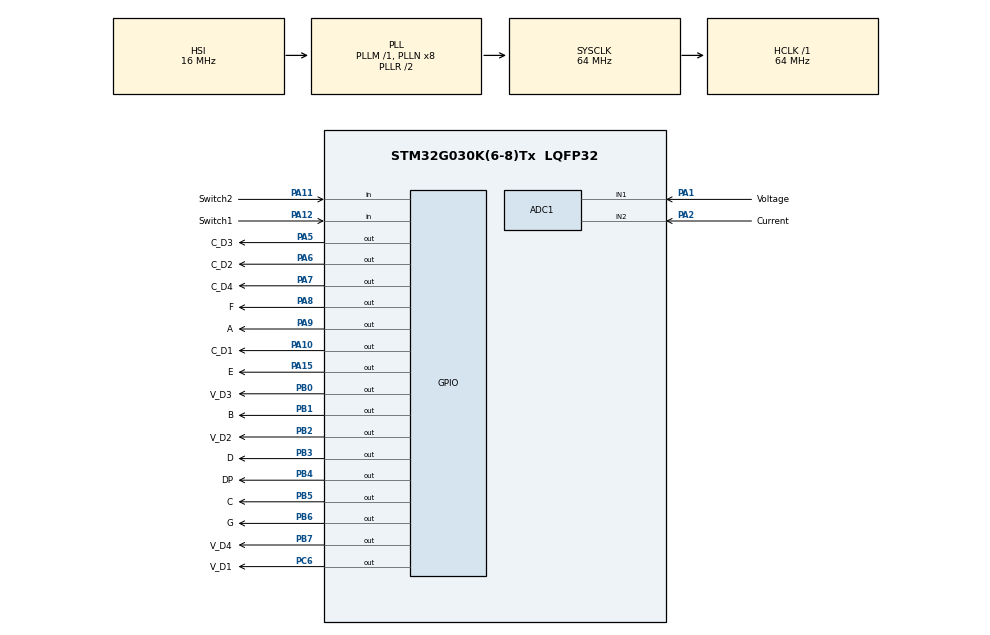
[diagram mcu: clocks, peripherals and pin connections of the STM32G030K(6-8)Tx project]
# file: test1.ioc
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ADC1.Channel-0\#ChannelRegularConversion=ADC_CHANNEL_1
ADC1.Channel-1\#ChannelRegularConversion=ADC_CHANNEL_2
ADC1.Channel-2\#ChannelRegularConversion=ADC_CHANNEL_VREFINT
ADC1.ClockPrescaler=ADC_CLOCK_ASYNC_DIV1
ADC1.ContinuousConvMode=DISABLE
ADC1.DMAContinuousRequests=ENABLE
ADC1.DiscontinuousConvMode=ENABLE
ADC1.EOCSelection=ADC_EOC_SINGLE_CONV
ADC1.EnableAnalogWatchDog1=false
ADC1.LowPowerAutoPowerOff=DISABLE
ADC1.LowPowerAutoWait=DISABLE
ADC1.NbrOfConversion=3
ADC1.NbrOfConversionFlag=1
ADC1.Overrun=ADC_OVR_DATA_OVERWRITTEN
ADC1.OversamplingMode=DISABLE
ADC1.Rank-0\#ChannelRegularConversion=1
ADC1.Rank-1\#ChannelRegularConversion=2
ADC1.Rank-2\#ChannelRegularConversion=3
ADC1.SamplingTime-0\#ChannelRegularConversion=ADC_SAMPLINGTIME_COMMON_1
ADC1.SamplingTime-1\#ChannelRegularConversion=ADC_SAMPLINGTIME_COMMON_1
ADC1.SamplingTime-2\#ChannelRegularConversion=ADC_SAMPLINGTIME_COMMON_1
ADC1.SamplingTimeCommon1=ADC_SAMPLETIME_160CYCLES_5
ADC1.SamplingTimeCommon2=ADC_SAMPLETIME_160CYCLES_5
ADC1.SelectedChannel=ADC_CHANNEL_1|ADC_CHANNEL_2|ADC_CHANNEL_VREFINT
ADC1.master=1
Dma.ADC1.0.Direction=DMA_PERIPH_TO_MEMORY
Dma.ADC1.0.EventEnable=DISABLE
Dma.ADC1.0.Instance=DMA1_Channel1
Dma.ADC1.0.MemDataAlignment=DMA_MDATAALIGN_HALFWORD
Dma.ADC1.0.MemInc=DMA_MINC_ENABLE
Dma.ADC1.0.Mode=DMA_CIRCULAR
Dma.ADC1.0.PeriphDataAlignment=DMA_PDATAALIGN_HALFWORD
Dma.ADC1.0.PeriphInc=DMA_PINC_DISABLE
Dma.ADC1.0.Polarity=HAL_DMAMUX_REQ_GEN_RISING
Dma.ADC1.0.Priority=DMA_PRIORITY_LOW
Dma.ADC1.0.RequestNumber=1
Dma.ADC1.0.SignalID=NONE
Dma.ADC1.0.SyncEnable=DISABLE
Dma.ADC1.0.SyncPolarity=HAL_DMAMUX_SYNC_NO_EVENT
Dma.ADC1.0.SyncRequestNumber=1
Dma.ADC1.0.SyncSignalID=NONE
Dma.Request0=ADC1
Mcu.Family=STM32G0
Mcu.Name=STM32G030K(6-8)Tx
Mcu.Package=LQFP32
NVIC.DMA1_Channel1_IRQn=true\:0\:0\:false\:false\:true\:false\:true\:true
NVIC.TIM3_IRQn=true\:0\:0\:false\:false\:true\:true\:true\:true
PA1.GPIO_Label=Voltage
PA1.Mode=IN1
PA1.Signal=ADC1_IN1
PA10.GPIO_Label=C_D1
PA10.Signal=GPIO_Output
PA11\ [PA9].GPIO_Label=Switch2
PA11\ [PA9].GPIO_PuPd=GPIO_NOPULL
PA11\ [PA9].Signal=GPIO_Input
PA12\ [PA10].GPIO_Label=Switch1
PA12\ [PA10].Signal=GPIO_Input
PA13.Mode=Serial_Wire
PA13.Signal=SYS_SWDIO
PA14-BOOT0.Mode=Serial_Wire
PA14-BOOT0.Signal=SYS_SWCLK
PA15.GPIO_Label=E
PA15.GPIO_Speed=GPIO_SPEED_FREQ_VERY_HIGH
PA15.PinState=GPIO_PIN_RESET
PA15.Signal=GPIO_Output
PA2.GPIO_Label=Current
PA2.Mode=IN2
PA2.Signal=ADC1_IN2
PA5.GPIO_Label=C_D3
PA5.Signal=GPIO_Output
PA6.GPIO_Label=C_D2
PA6.GPIO_Speed=GPIO_SPEED_FREQ_VERY_HIGH
PA6.Signal=GPIO_Output
PA7.GPIO_Label=C_D4
PA7.GPIO_Speed=GPIO_SPEED_FREQ_VERY_HIGH
PA7.Signal=GPIO_Output
PA8.GPIO_Label=F
PA8.GPIO_Speed=GPIO_SPEED_FREQ_VERY_HIGH
PA8.Signal=GPIO_Output
PA9.GPIO_Label=A
PA9.Signal=GPIO_Output
PB0.GPIO_Label=V_D3
PB0.GPIO_Speed=GPIO_SPEED_FREQ_VERY_HIGH
PB0.Signal=GPIO_Output
PB1.GPIO_Label=B
PB1.GPIO_Speed=GPIO_SPEED_FREQ_VERY_HIGH
PB1.Signal=GPIO_Output
PB2.GPIO_Label=V_D2
PB2.GPIO_Speed=GPIO_SPEED_FREQ_VERY_HIGH
PB2.Signal=GPIO_Output
PB3.GPIO_Label=D
PB3.GPIO_Speed=GPIO_SPEED_FREQ_VERY_HIGH
PB3.Signal=GPIO_Output
PB4.GPIO_Label=DP
PB4.GPIO_Speed=GPIO_SPEED_FREQ_VERY_HIGH
PB4.Signal=GPIO_Output
PB5.GPIO_Label=C
PB5.GPIO_Speed=GPIO_SPEED_FREQ_VERY_HIGH
PB5.Signal=GPIO_Output
PB6.GPIO_Label=G
PB6.GPIO_Speed=GPIO_SPEED_FREQ_VERY_HIGH
PB6.Signal=GPIO_Output
PB7.GPIO_Label=V_D4
PB7.GPIO_Speed=GPIO_SPEED_FREQ_VERY_HIGH
PB7.Signal=GPIO_Output
PC6.GPIO_Label=V_D1
PC6.GPIO_Speed=GPIO_SPEED_FREQ_VERY_HIGH
PC6.Signal=GPIO_Output
ProjectManager.HeapSize=0x200
ProjectManager.StackSize=0x400
ProjectManager.TargetToolchain=STM32CubeIDE
RCC.ADCCLockSelection=RCC_ADCCLKSOURCE_PLLADC
RCC.ADCFreq_Value=32000000
RCC.AHBFreq_Value=64000000
RCC.APB1CLKDivider=RCC_HCLK_DIV4
RCC.CortexFreq_Value=64000000
RCC.EXTERNAL_CLOCK_VALUE=12288000
RCC.HCLKFreq_Value=64000000
RCC.HSE_VALUE=8000000
RCC.HSI_VALUE=16000000
RCC.LSE_VALUE=32768
RCC.PLLP=RCC_PLLP_DIV4
RCC.SYSCLKFreq_VALUE=64000000
RCC.SYSCLKSource=RCC_SYSCLKSOURCE_PLLCLK
RCC.VCOOutputFreq_Value=128000000
TIM3.Channel-Output\ Compare1\ No\ Output=TIM_CHANNEL_1
TIM3.OCMode_1=TIM_OCMODE_TIMING
TIM3.Period=32768
TIM3.Prescaler=1
TIM3.TIM_MasterOutputTrigger=TIM_TRGO_RESET
VP_ADC1_Vref_Input.Mode=IN-Vrefint
VP_TIM3_VS_ClockSourceINT.Mode=Internal
VP_TIM3_VS_no_output1.Mode=Output Compare1 No Output
board=custom

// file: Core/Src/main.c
/* USER CODE BEGIN Header */
/**
  ******************************************************************************
  * @file           : main.c
  * @brief          : Main program body
  ******************************************************************************
  * @attention
  *
  * Copyright (c) 2025 STMicroelectronics.
  * All rights reserved.
  *
  * This software is licensed under terms that can be found in the LICENSE file
  * in the root directory of this software component.
  * If no LICENSE file comes with this software, it is provided AS-IS.
  *
  ******************************************************************************
  */
/* USER CODE END Header */
#include "main.h"

/* USER CODE BEGIN PD */

#define SAMPLES 1024.0f

#define SMOOTHING_SHIFT 3

#define BUTTON1_Pin GPIO_PIN_12
#define BUTTON1_GPIO_Port GPIOA

#define BUTTON2_Pin GPIO_PIN_11
#define BUTTON2_GPIO_Port GPIOA

//#define RING_SIZE        16        // number of entries in the averaging buffer
//#define RING_THRESHOLD   0.1f      // 0.5 V: update buffer only when avg would change by >= 0.5V

#define alpha                0.1f   // Smoothing factor
#define OFFSET_ADC_Curr       3.75f      // Offset (at 0 A)
#define OFFSET_ADC_Volt       5.0f

#define VREFINT_CAL_ADDR   ((uint16_t*)0x1FFF75AA)
#define VREFINT_CAL_VREF   3000UL   // mV

//static float baseline = 0.0f;
//#define BASELINE_ALPHA  0.002f       // how fast baseline adapts
//#define DETECT_THRESH   6.0f         // only adapt when signal small

#define ADC_RESOLUTION      4095.0f
#define AMPLIFIER_GAIN       50.0f // Adjust if your INA180 is A1 (20), A2 (50), A3 (100), A4 (200)

GPIO_PinState b2;
GPIO_PinState b1;
/* USER CODE END PD */

ADC_HandleTypeDef hadc1;
DMA_HandleTypeDef hdma_adc1;

TIM_HandleTypeDef htim3;

/* USER CODE BEGIN PV */
HAL_StatusTypeDef status;

float SHUNT_RESISTANCE   =  0.000375f; // Ohms
uint16_t flag1 = 0;
uint16_t digits[16];

uint32_t buttonPressStartTime = 0;
uint8_t waitingFor2Sec = 0;
uint8_t inPasswordMode = 0;

uint8_t currentDigitIndex = 0;

uint8_t passwordDigits[4] = {0, 0, 0, 0};
const uint8_t defaultPassword[4] = { 1,2,3,4 };

uint8_t correctPassword[4] = {1, 0, 0, 0};
uint8_t passwordEntered[4] = {0};
uint8_t settingDigits[4] = {0};
uint8_t mode = 0;
uint8_t entryComplete = 0;
uint8_t passwordMatched = 0;
uint32_t lastPress = 0, blinkTimer = 0;
uint8_t blinkState = 0;
uint8_t modeEntryActive = 0;

uint8_t editMode = 0;                 // Are we editing digits?

uint8_t readOnlyMode = 0;

uint16_t adc_Value= 0;

uint16_t adc_Value_1= 0;

uint16_t adc_Value_2= 0;

uint32_t sum_V = 0;

uint32_t sum_C = 0;

float average_V = 0;

float average_C = 0;

float voltage = 0;
float current = 0;

float corrected_V = 0;

int16_t corrected_A = 0;

uint16_t number = 0;

int16_t deviation, a, b, current_A;

int16_t filtered_adc_1 = 0;

int val_int;

float ema_current = 0;
float ema_voltage = 0;

float offset_correction;
float gain_correction;
float v_shunt;
float v_out;
float i_shunt;
float i_out;

uint16_t adc_vrefint = 0;   // latest ADC result for VREFINT
uint32_t vdda_mV = 0;       // calculated VDDA (mV)

uint16_t AD_RES_BUFFER[3];

const uint8_t modeLabels[5][4] = {
        {28, 17, 23, 29}, // SHnt
        {13, 30, 1, 13},  // du1d
        {11, 30, 10, 13}, // bUAd
        {25, 10, 27, 29}, // PArt
        {28, 10, 30, 14}  // SAVE
    };

// if password is correct

uint8_t modeSettings[5][4] = {
    {2, 0, 0, 0}, // Default SHnt
    {0, 1, 0, 37}, // Default du1d
    {9, 6, 0, 0}, // Default bUAd
    {14, 30, 14, 23}, // Default: EVEn (E, V, E, n)
    {34, 14, 5, 37}  // Default SAVE: y
};

uint8_t partModes[3][4] = {
    {14, 30, 14, 23}, // EVEn
    {0, 13, 13, 37}, // odd
    {23, 24, 23, 37}  // non
};

uint8_t saveModes[2][4] = {
    {23, 24, 37, 37}, // YES
    {34, 14, 5, 37}, // NO
};

const uint8_t baudModes[4][4] = {
    {9, 6, 0, 0},   // 9600
    {4, 8, 0, 0},   // 4800
    {2, 4, 0, 0},   // 2400
    {1, 9, 2, 0}    // 1920
};
uint8_t baudModeIndex = 0;

// Set default values for modes (unless in edit)
//if (!editMode && mode == 0) memcpy(settingDigits, (uint8_t[]){0, 7, 5, 9}, 4);
//if (!editMode && mode == 2) memcpy(settingDigits, (uint8_t[]){9, 6, 0, 0}, 4);

uint8_t modeEditBlink = 0; // Used in Mode 3 (PArt) and Mode 4 (SAVE)

int partModeIndex = 0;
int saveToggle = 0; // 0 = EVEn, 1 = odd
int programming = 0;

/* USER CODE END PV */

void SystemClock_Config(void);
static void MX_GPIO_Init(void);
static void MX_DMA_Init(void);
static void MX_ADC1_Init(void);
static void MX_TIM3_Init(void);
/* USER CODE BEGIN PFP */

// Convert buffer digits into float shunt resistance
float get_shunt_from_buffer(uint8_t buf[4]) {
    // Example buf = {0,7,5,9} → 75.9
    int d1 = buf[0];  // tens
    int d2 = buf[1];  // ones
    int d3 = buf[2];  // tenths
    int d4 = buf[3];  // hundredths (if needed)

    float value = (d1 * 10.0f) + (d2 * 1.0f) + (d3 * 0.1f) + (d4 * 0.01f);
    return value;
}

uint16_t ADC_Current(void)
{
	ADC_ChannelConfTypeDef sConfig = {0};

	  sConfig.Channel = ADC_CHANNEL_2;
	  sConfig.Rank = ADC_REGULAR_RANK_1;
	  sConfig.SamplingTime = ADC_SAMPLINGTIME_COMMON_1;
	  if (HAL_ADC_ConfigChannel(&hadc1, &sConfig) != HAL_OK)
	  {
	    Error_Handler();
	  }

	status = HAL_ADC_Start(&hadc1);
	status = HAL_ADC_PollForConversion(&hadc1, HAL_MAX_DELAY);
	adc_Value_1 = HAL_ADC_GetValue(&hadc1);
	HAL_ADC_Stop(&hadc1);

	return adc_Value_1;
}

uint16_t ADC_Voltage(void)
{
	ADC_ChannelConfTypeDef sConfig = {0};

	  sConfig.Channel = ADC_CHANNEL_1;
	  sConfig.Rank = ADC_REGULAR_RANK_1;
	  sConfig.SamplingTime = ADC_SAMPLINGTIME_COMMON_1;
	  if (HAL_ADC_ConfigChannel(&hadc1, &sConfig) != HAL_OK)
	  {
	    Error_Handler();
	  }

	status = HAL_ADC_Start(&hadc1);
	status = HAL_ADC_PollForConversion(&hadc1, HAL_MAX_DELAY);
	adc_Value_1 = HAL_ADC_GetValue(&hadc1);
	HAL_ADC_Stop(&hadc1);

	return adc_Value_1;

}

void CurrentValue ()
{

	float shunt_A = ((float)modeSettings[0][0] * 100.0f) +
	                ((float)modeSettings[0][1] * 10.0f) +
	                ((float)modeSettings[0][2] * 1.0f) +
	                ((float)modeSettings[0][3] * 0.1f);
	float shunt_mV  = 75.0f;    // default 75 mV
	float INA_gain  = 50.0f;    // INA180 gain (fixed)

	// Derived shunt resistance
	float R_shunt = (shunt_mV) / shunt_A;  // mOhms
	 sum_C = 0;

	for (uint16_t i = 0; i < SAMPLES; i++)
	{
	    HAL_ADC_Start_DMA(&hadc1, AD_RES_BUFFER, 3);
		//adcBuffer_C[i] = AD_RES_BUFFER[1];   // save each sample in buffer
		sum_C += AD_RES_BUFFER[1];               // also sum if you still need average
	}

	 average_C = sum_C / SAMPLES;

	 corrected_A = (average_C > OFFSET_ADC_Curr) ? (average_C - OFFSET_ADC_Curr) : 0;

	 adc_vrefint = AD_RES_BUFFER[2]; //fixed bandgap reference inside the chip

	 uint16_t vrefint_cal = *VREFINT_CAL_ADDR;

	 vdda_mV = (uint32_t)VREFINT_CAL_VREF * vrefint_cal / adc_vrefint;

	 float v_adc = (corrected_A * vdda_mV) / 4095;

	 current = ((v_adc) / (INA_gain * R_shunt));

	 gain_correction = 1.034f;    // Adjust this based on your observed error
	 offset_correction =   0.0f; // Optional fine offset if needed

	 current = ( current * gain_correction) + offset_correction;

	 static float ema_current = 0.0f;
	 const float EMA_ALPHA = 0.01f;   // smoothing factor (0.01 = very stable, 0.2 = faster response)

	 ema_current = ema_current + EMA_ALPHA * (current - ema_current);

	 /* --- Stable display logic with hysteresis --- */
	 static float last_display_current = 0.0f;
	 const float DISPLAY_THRESHOLD = 0.1f;   // 100 mV stability band

	 if (fabsf(ema_current - last_display_current) >= DISPLAY_THRESHOLD)
	 {
		 last_display_current = ema_current;
	 }

	 float display_current = last_display_current;

	 // === Step 9: Clamp and Prepare Current ===
	 //if (current > 200.0f) current = 200.0f;
	 if (current < 0.0f) current = 0.0f;

	 // === Step 10: Clear Digits & DPs ===
	 for (int i = 0; i < 4; i++) {
		 digits[i] = 0;
		 digits[8 + i] = 0;
	 }

	 if (display_current < 10.0f)
		 {
		     // Format: X.XX (1 integer + 2 decimals). Keep last digit as the 3rd decimal if you want.
		     val_int = (int)(display_current * 100 + 0.5f);  // e.g. 2.34 -> 234 (hundreds=tens etc.)

		     digits[0] = (val_int / 100) % 10; // integer part
		     digits[1] = (val_int / 10) % 10;  // first decimal
		     digits[2] =  val_int % 10;        // second decimal
		     digits[3] = 0;                    // optional: fill with fake digit if desired

		     digits[8] = 1;  // DP after first digit (X.XX)
		 }
		 else if (display_current < 100.0f)
		 {
		     // Format: XX.XX (tens, ones, two decimals)
		     val_int = (int)(display_current * 100 + 0.5f);  // e.g. 23.45 -> 2345

		     digits[0] = (val_int / 1000) % 10; // tens
		     digits[1] = (val_int / 100) % 10;  // ones
		     digits[2] = (val_int / 10) % 10;   // first decimal
		     digits[3] =  val_int % 10;         // second decimal

		     digits[9] = 1;  // DP after second digit (XX.XX)
		 }
		 else
		 {
		     // Format: XXX.X  (since you only have 4 digits, reduce decimals for 3-digit numbers)
		     val_int = (int)(display_current * 10 + 0.5f);  // e.g. 123.4 -> 1234

		     digits[0] = (val_int / 1000) % 10; // hundreds
		     digits[1] = (val_int / 100) % 10;  // tens
		     digits[2] = (val_int / 10) % 10;   // ones
		     digits[3] =  val_int % 10;         // first decimal

		     digits[10] = 1;  // DP after third digit (XXX.X)
		 }

}

void VoltageValue ()
{
        sum_V = 0;

        for (uint16_t i = 0; i < SAMPLES; i++)
        {
       	 HAL_ADC_Start_DMA(&hadc1, AD_RES_BUFFER, 2);
            //adcBuffer_V[i] = AD_RES_BUFFER[0];   // save each sample in buffer
            sum_V += AD_RES_BUFFER[0];               // also sum if you still need

        }

         average_V = sum_V / SAMPLES;

		 corrected_V = (average_V > OFFSET_ADC_Volt) ? (average_V - OFFSET_ADC_Volt) : 0;

		 adc_vrefint = AD_RES_BUFFER[2]; //fixed bandgap reference inside the chip

		 uint16_t vrefint_cal = *VREFINT_CAL_ADDR;

		 vdda_mV = (uint32_t)VREFINT_CAL_VREF * vrefint_cal / adc_vrefint;

		 voltage = (corrected_V * vdda_mV) / 4095;

		 gain_correction = 1.028f;    // Adjust this based on your observed error
		 offset_correction = 0.07f; // Optional fine offset if needed

		 voltage = ( voltage / 11.95f )* gain_correction + offset_correction;

		 /* --- Exponential Moving Average Filter --- */
		 static float ema_voltage = 0.0f;
		 const float EMA_ALPHA = 0.01f;   // smoothing factor (0.01 = very stable, 0.2 = faster response)

		 ema_voltage = ema_voltage + EMA_ALPHA * (voltage - ema_voltage);

		 /* --- Stable display logic with hysteresis --- */
		 static float last_display_voltage = 0.0f;
		 const float DISPLAY_THRESHOLD = 0.1f;   // 100 mV stability band

		 if (fabsf(ema_voltage - last_display_voltage) >= DISPLAY_THRESHOLD)
		 {
		     last_display_voltage = ema_voltage;
		 }

		 float display_voltage = last_display_voltage;

	 // After computing display_voltage
	 if (fabsf(display_voltage) < 0.2f)   // anything below 50 mV = 0.00
	     display_voltage = 0.0f;

	 /* ---------- clamp display_voltage (unchanged behavior) ---------- */
	 if (display_voltage > 200.0f) display_voltage = 200.0f;
	 if (display_voltage < 0.0f)   display_voltage = 0.0f;

	 /* ---------- Clear digits & DPs ---------- */
	 for (int i = 0; i < 4; i++) {
	     digits[i] = 0;
	     digits[8 + i] = 0;
	 }

	 /* ---------- Extract digits + Set DP ---------- */
	 /* NOTE: Using display_voltage (ring-averaged) for all formatting */
	 if (display_voltage < 10.0f)
	 {
	     // Format: X.XX (1 integer + 2 decimals). Keep last digit as the 3rd decimal if you want.
	     val_int = (int)(display_voltage * 100 + 0.5f);  // e.g. 2.34 -> 234 (hundreds=tens etc.)

	     digits[0] = (val_int / 100) % 10; // integer part
	     digits[1] = (val_int / 10) % 10;  // first decimal
	     digits[2] =  val_int % 10;        // second decimal
	     digits[3] = 0;                    // optional: fill with fake digit if desired

	     digits[8] = 1;  // DP after first digit (X.XX)
	 }
	 else if (display_voltage < 100.0f)
	 {
	     // Format: XX.XX (tens, ones, two decimals)
	     val_int = (int)(display_voltage * 100 + 0.5f);  // e.g. 23.45 -> 2345

	     digits[0] = (val_int / 1000) % 10; // tens
	     digits[1] = (val_int / 100) % 10;  // ones
	     digits[2] = (val_int / 10) % 10;   // first decimal
	     digits[3] =  val_int % 10;         // second decimal

	     digits[9] = 1;  // DP after second digit (XX.XX)
	 }
	 else
	 {
	     // Format: XXX.X  (since you only have 4 digits, reduce decimals for 3-digit numbers)
	     val_int = (int)(display_voltage * 10 + 0.5f);  // e.g. 123.4 -> 1234

	     digits[0] = (val_int / 1000) % 10; // hundreds
	     digits[1] = (val_int / 100) % 10;  // tens
	     digits[2] = (val_int / 10) % 10;   // ones
	     digits[3] =  val_int % 10;         // first decimal

	     digits[10] = 1;  // DP after third digit (XXX.X)
	 }

//	 HAL_Delay(200);

}

/* USER CODE END PFP */

int main(void)
{

  /* MCU Configuration--------------------------------------------------------*/

  /* Reset of all peripherals, Initializes the Flash interface and the Systick. */
  HAL_Init();

  /* Configure the system clock */
  SystemClock_Config();

  /* Initialize all configured peripherals */
  MX_GPIO_Init();
  MX_DMA_Init();
  MX_ADC1_Init();
  MX_TIM3_Init();
  /* USER CODE BEGIN 2 */

  if (HAL_ADCEx_Calibration_Start(&hadc1) != HAL_OK)
  {
      Error_Handler();
  }

  status = HAL_TIM_OC_Start_IT(&htim3, TIM_CHANNEL_1);

  digits[8]=1;
  digits[13]=1;

  /* USER CODE END 2 */

  /* Infinite loop */
  while (1)
  {

    /* USER CODE BEGIN 3 */

	     GPIO_PinState b1 = HAL_GPIO_ReadPin(BUTTON1_GPIO_Port, BUTTON1_Pin);
	     GPIO_PinState b2 = HAL_GPIO_ReadPin(BUTTON2_GPIO_Port, BUTTON2_Pin);
// =============== Step 1: Long-press BOTH BUTTONS to enter password mode =============== //

	     if (!inPasswordMode)
	     {
	         if (b1 == GPIO_PIN_RESET && b2 == GPIO_PIN_RESET)
	         {

	             if (waitingFor2Sec == 0)
	             {
	                 buttonPressStartTime = HAL_GetTick();
	                 waitingFor2Sec = 1;
	             }
	             else if (HAL_GetTick() - buttonPressStartTime >= 2000)
	             {

	            	 digits[8]=0;
	            	 digits[13]=0;
	            	 digits[9]=0;
	            	 digits[10]=0;

	            	 inPasswordMode = 1;
	            	 entryComplete = 0;
	                 waitingFor2Sec = 0;
	                 currentDigitIndex = 0;

	                 // Show "PASS"
	                 digits[4] = 25; // P
	                 digits[5] = 10; // A
	                 digits[6] = 28; // S
	                 digits[7] = 28; // S

	                 for (int i = 0; i < 4; i++)
	                 {

	                     digits[i] = 0;
	                     passwordEntered[i] = 0;
	                 }

	             }
	         }
	         else
	         {
	             waitingFor2Sec = 0;
	       	    HAL_ADC_Start_DMA(&hadc1, AD_RES_BUFFER, 3);

	       	 if (flag1 == 1 )
	       	 {
	       	    CurrentValue();
	       	   b1 = HAL_GPIO_ReadPin(BUTTON1_GPIO_Port, BUTTON1_Pin);

				 if (b1 == GPIO_PIN_RESET)
				  {
					 flag1 = 0;
				  }
	       	 }
	       	 if (flag1 == 0)
	       	 {
	             VoltageValue ();
	            b2 = HAL_GPIO_ReadPin(BUTTON2_GPIO_Port, BUTTON2_Pin);

	             if (b2 == GPIO_PIN_RESET)
	             {
	            	 flag1 = 1;
	             }
	       	 }

	         }
	     }

// =============== Step 2: Enter password mode =============== //

	     else if (!modeEntryActive)
	     {

	         // Blinking selected digit
	         if (!entryComplete && HAL_GetTick() - blinkTimer >= 300)
	         {
	             blinkTimer = HAL_GetTick();
	             blinkState = !blinkState;
	             digits[currentDigitIndex] = blinkState ? 37 : passwordEntered[currentDigitIndex]; // 37 = blank
	         }

	         if (!entryComplete && HAL_GetTick() - lastPress > 300)
	         {

	             if (b1 == GPIO_PIN_RESET)
	             {
	                 passwordEntered[currentDigitIndex]++;
	                 if (passwordEntered[currentDigitIndex] > 9) passwordEntered[currentDigitIndex] = 0;
	                 digits[currentDigitIndex] = passwordEntered[currentDigitIndex];
	                 lastPress = HAL_GetTick();
	             }
	             else if (b2 == GPIO_PIN_RESET)
	             {
	                 digits[currentDigitIndex] = 36;
	                 currentDigitIndex++;
	                 if (currentDigitIndex >= 4)
	                 {
	                     entryComplete = 1;

	                     // Compare password
	                     passwordMatched = 1;
	                     for (int i = 0; i < 4; i++)
	                     {
	                         if (passwordEntered[i] != correctPassword[i])
	                         {
	                             passwordMatched = 0;
	                             break;
	                         }

	                         if (passwordEntered[i] == correctPassword[i])
	                         {
	                        	 programming = 1;
	                             modeEntryActive = 1;
	                         }
	                     }

	                     digits[0] = 14; // E
	                     digits[1] = 23; // n
	                     digits[2] = 36; // -
	                     digits[3] = passwordMatched ? 34 : 23; // y : n
	                     while(1)
	                     {
	                    	 GPIO_PinState b1 = HAL_GPIO_ReadPin(BUTTON1_GPIO_Port, BUTTON1_Pin);
	                    	 if(b1 == GPIO_PIN_RESET){
	                    		 break;
	                    	 }
	                     }
//                           HAL_Delay(1000);

	                     if (!passwordMatched)
	                     {
	                         readOnlyMode = 1;
	                         mode = 0;
	                         currentDigitIndex = 0;
	                         blinkState = 0;
	                         blinkTimer = HAL_GetTick();

	                         const uint8_t defaultShnt[4] = {modeSettings[0][1], modeSettings[0][2], modeSettings[0][3], modeSettings[0][4]};
	                         const uint8_t defaultDuid[4] = {0, 0, 0, 0};

	                         int localMode = 0; // Tracks what to show: 0 → SHnt, 1 → du1d, 2 → reset

	                         while (1)
	                         {
	                             // Show SHnt

	                             if (localMode == 0)
	                             {
	                            	  digits[10]=1;
	                                 for (int j = 0; j < 4; j++)
	                                 {
	                                     digits[j] = defaultShnt[j];
	                                     digits[4 + j] = modeLabels[0][j];
	                                 }
	                             }
	                             // Show du1d
	                             while(1)
								 {

									 GPIO_PinState b1 = HAL_GPIO_ReadPin(BUTTON1_GPIO_Port, BUTTON1_Pin);
									 if(b1 == GPIO_PIN_RESET){

										 break;
									 }
								 }
	                            if (localMode == 1)
	                             {
	                            	 digits[10]=0;
	                                 for (int j = 0; j < 4; j++)
	                                 {
	                                     digits[j] = defaultDuid[j];
	                                     digits[4 + j] = modeLabels[1][j];
	                                 }

	                             }

	                             // Reset system after du1d
	                             else if (localMode == 2)
	                             {
	                                 // === Reset system ===
	                                 memcpy(settingDigits, defaultShnt, 4); // SHnt
	                                 memcpy(settingDigits, baudModes[baudModeIndex], 4); // bUAd

	                                 // Fully reset all state flags
	                                 inPasswordMode = 0;
	                                 modeEntryActive = 0;
	                                 entryComplete = 0;
	                                 waitingFor2Sec = 0;
	                                 currentDigitIndex = 0;
	                                 readOnlyMode = 0;
	                                 programming = 0;
	                                 editMode = 0;
	                                 blinkState = 0;
	                                 digits[8]=1;
	                                 digits[13]=1;

	                                 // Clear screen
	                                 for (int i = 0; i < 8; i++) digits[i] = 0;

	                                 HAL_Delay(300);

	                                 // === Add this: exit wrong password loop ===
	                                 break;
	                             }

	                             // Handle button 1 to cycle modes
	                             if (HAL_GPIO_ReadPin(BUTTON1_GPIO_Port, BUTTON1_Pin) == GPIO_PIN_RESET)
	                             {
	                                 HAL_Delay(300); // debounce
	                                 localMode++;
	                                 if (localMode > 2)
	                                     localMode = 2;
	                             }
	                         }
	                         inPasswordMode = 0;
	                         programming=0;
	                         modeEntryActive = 0;

	                     }

	                     // if matched, go to config mode

	                     currentDigitIndex = 0;
	                     mode = 0;
	                     for (int i = 0; i < 4; i++) settingDigits[i] = 0;

	                 }
	                 lastPress = HAL_GetTick();

	             }
	         }
	     }

// ===============Step 3: Configuration mode (if password matched)========= //
	     else if (programming == 1)
	   	     {
	   	         // === INIT DEFAULT VALUES ON FIRST ENTRY ONLY ===
	   	         static uint8_t initialized = 0;
	   	         if (!initialized)
	   	         {
	   	             const uint8_t defaultShnt[4] = {0, 7, 5, 9};
	   	             const uint8_t defaultDuid[4] = {0, 0, 0, 0};

	   	             memcpy(modeSettings[0], defaultShnt, 4);           // SHnt
	   	             memcpy(modeSettings[1], defaultDuid, 4);            // du1d
	   	             memcpy(modeSettings[2], baudModes[baudModeIndex], 4); // bUAd
	   	             memcpy(modeSettings[3], partModes[partModeIndex], 4); // PArt
	   	             memcpy(modeSettings[4], saveModes[saveToggle], 4);    // SAVE

	   	             memcpy(settingDigits, modeSettings[0], 4); // Load SHnt initially
	   	             initialized = 1;

	   	             digits[10] = 1;
	   	         }

	   	         // === MODE LABEL DISPLAY (digits 4–7) ===
	   	         for (int i = 0; i < 4; i++)
	   	             digits[4 + i] = modeLabels[mode][i];

	   	         // === UPPER DIGITS DISPLAY (0–3) ===
	   	         if (mode == 4 && editMode)  // SAVE Mode with blinking
	   	         {
	   	             if (HAL_GetTick() - blinkTimer >= 300)
	   	             {
	   	                 blinkTimer = HAL_GetTick();
	   	                 blinkState = !blinkState;
	   	             }

	   	             for (int i = 0; i < 4; i++)
	   	                 digits[i] = blinkState ? 37 : settingDigits[i];
	   	         }
	   	         else if (editMode)
	   	         {
	   	             if (HAL_GetTick() - blinkTimer >= 300)
	   	             {
	   	                 blinkTimer = HAL_GetTick();
	   	                 blinkState = !blinkState;
	   	             }

	   	             for (int i = 0; i < 4; i++)
	   	                 digits[i] = (blinkState && (mode >= 2)) || (i == currentDigitIndex && blinkState)
	   	                             ? 37 : settingDigits[i];
	   	         }
	   	         else
	   	         {
	   	             for (int i = 0; i < 4; i++)
	   	                 digits[i] = settingDigits[i];
	   	         }

	   	         // === BUTTON HANDLING ===
	   	         if (HAL_GetTick() - lastPress > 300)
	   	         {
	   	             // ===== BUTTON 1 =====
	   	             if (b1 == GPIO_PIN_RESET)
	   	             {
	   	                 while (HAL_GPIO_ReadPin(BUTTON1_GPIO_Port, BUTTON1_Pin) == GPIO_PIN_RESET);

	   	                 if (editMode)

	   	                 {
	   	                     if (mode == 0 || mode == 1)
	   	                     {

	   	                         settingDigits[currentDigitIndex]++;
	   	                         if (settingDigits[currentDigitIndex] > 9)
	   	                             settingDigits[currentDigitIndex] = 0;
	   	                     }

	   	                     else if (mode == 2)  // bUAd
	   	                     {
	   	                         baudModeIndex = (baudModeIndex + 1) % 4;
	   	                         memcpy(settingDigits, baudModes[baudModeIndex], 4);
	   	                     }
	   	                     else if (mode == 3)  // PArt
	   	                     {
	   	                         partModeIndex = (partModeIndex + 1) % 3;
	   	                         memcpy(settingDigits, partModes[partModeIndex], 4);
	   	                     }
	   	                     else if (mode == 4)  // SAVE → Toggle YES/NO
	   	                     {
	   	                         saveToggle = !saveToggle;
	   	                         memcpy(settingDigits, saveModes[saveToggle], 4);
	   	                     }
	   	                 }
	   	                 else
	   	                 {
	   	                     // Save settings before switching mode
	   	                     for (int i = 0; i < 4; i++)
	   	                         modeSettings[mode][i] = settingDigits[i];

	   	                     mode = (mode + 1) % 5;
	   	                     for (int i = 0; i < 4; i++)
	   	                         settingDigits[i] = modeSettings[mode][i];

	   	                	if (mode == 0)
	   	                	{

	   	                	    digits[10] = 1;

	   	                	}
	   	                	else
	   	                	{

	   	                	    digits[10] = 0;

	   	                	}
	   	                     // Automatically enter editMode in SAVE mode
	   	                     if (mode == 4)
	   	                     {
	   	                         editMode = 1;
	   	                         blinkTimer = HAL_GetTick();
	   	                         saveToggle = 1;  // Start at YES
	   	                         memcpy(settingDigits, saveModes[saveToggle], 4);
	   	                     }
	   	                     else
	   	                     {
	   	                         editMode = 0;
	   	                         currentDigitIndex = 0;
	   	                     }
	   	                 }

	   	                 lastPress = HAL_GetTick();
	   	             }

	   	             // ===== BUTTON 2 =====
	   	             else if (b2 == GPIO_PIN_RESET)
	   	             {
	   	                 while (HAL_GPIO_ReadPin(BUTTON2_GPIO_Port, BUTTON2_Pin) == GPIO_PIN_RESET);

	   	                 if (mode == 0 || mode == 1)
	   	                 {
	   	                     if (!editMode)
	   	                     {
	   	                         editMode = 1;
	   	                         currentDigitIndex = 0;
	   	                         blinkTimer = HAL_GetTick();
	   	                     }
	   	                     else
	   	                     {
	   	                         currentDigitIndex++;
	   	                         if (currentDigitIndex >= 4)
	   	                         {
	   	                             currentDigitIndex = 0;
	   	                             editMode = 0;
	   	                             for (int i = 0; i < 4; i++)
	   	                                 modeSettings[mode][i] = settingDigits[i];
	   	                         }
	   	                     }
	   	                 }
	   	                 else if (mode == 2 || mode == 3)
	   	                 {
	   	                     editMode = !editMode;
	   	                     blinkTimer = HAL_GetTick();

	   	                     if (!editMode)
	   	                     {
	   	                         for (int i = 0; i < 4; i++)
	   	                             modeSettings[mode][i] = settingDigits[i];
	   	                     }
	   	                 }
	   	                 else if (mode == 4)  // SAVE mode confirmation
	   	                 {
	   	                     editMode = 0;  // Stop blinking

	   	                     for (int i = 0; i < 4; i++)
	   	                         digits[i] = settingDigits[i];

	   	                     HAL_Delay(200);

	   	                     // SAVE = YES
	   	                     if (settingDigits[0] == saveModes[1][0] &&
	   	                         settingDigits[1] == saveModes[1][1] &&
	   	                         settingDigits[2] == saveModes[1][2] &&
	   	                         settingDigits[3] == saveModes[1][3])
	   	                     {
	   	                         while (1)
	   	                         {
	   	                             GPIO_PinState b1_state = HAL_GPIO_ReadPin(BUTTON1_GPIO_Port, BUTTON1_Pin);
	   	                             GPIO_PinState b2_state = HAL_GPIO_ReadPin(BUTTON2_GPIO_Port, BUTTON2_Pin);

	   	                             if (b1_state == GPIO_PIN_RESET)
	   	                             {
	   	                                 while (HAL_GPIO_ReadPin(BUTTON1_GPIO_Port, BUTTON1_Pin) == GPIO_PIN_RESET);

	   	                                 programming = 0;
	   	                                 inPasswordMode = 0;
	   	                                 modeEntryActive = 0;
	   	                                 editMode = 0;
	   	                                 currentDigitIndex = 0;
	   	                                 initialized = 0;
	   	                                 digits[8]=1;
	   	                           	     digits[13]=1;
	   	                                 for (int i = 0; i < 8; i++) digits[i] = 0;
	   	                                 HAL_Delay(300);
	   	                                 break;
	   	                             }

	   	                             else if (b2_state == GPIO_PIN_RESET)
	   	                             {
	   	                                 while (HAL_GPIO_ReadPin(BUTTON2_GPIO_Port, BUTTON2_Pin) == GPIO_PIN_RESET);

	   	                                 editMode = 1;
	   	                                 blinkTimer = HAL_GetTick();
	   	                                 currentDigitIndex = 0;
	   	                                 break;
	   	                             }

	   	                             if (editMode)
	   	                             {
	   	                                 if (HAL_GetTick() - blinkTimer >= 300)
	   	                                 {
	   	                                     blinkTimer = HAL_GetTick();
	   	                                     blinkState = !blinkState;

	   	                                     for (int i = 0; i < 4; i++)
	   	                                         digits[i] = blinkState ? 37 : settingDigits[i];
	   	                                 }
	   	                             }
	   	                         }
	   	                     }
	   	                     else
	   	                     {

	   	                         // SAVE = NO → loop to next mode
	   	                         for (int i = 0; i < 4; i++)
	   	                             modeSettings[mode][i] = settingDigits[i];

	   	                         mode = 0;
	   	                         for (int i = 0; i < 4; i++)
	   	                             settingDigits[i] = modeSettings[mode][i];
	   	                     }
	   	                 }

	   	                 lastPress = HAL_GetTick();
	   	             }
	   	         }
	   	     }

////////////////////////////////////////////////////////////////////////////

  }
  /* USER CODE END 3 */
}

void SystemClock_Config(void)
{
  RCC_OscInitTypeDef RCC_OscInitStruct = {0};
  RCC_ClkInitTypeDef RCC_ClkInitStruct = {0};

  /** Configure the main internal regulator output voltage
  */
  HAL_PWREx_ControlVoltageScaling(PWR_REGULATOR_VOLTAGE_SCALE1);

  /** Initializes the RCC Oscillators according to the specified parameters
  * in the RCC_OscInitTypeDef structure.
  */
  RCC_OscInitStruct.OscillatorType = RCC_OSCILLATORTYPE_HSI;
  RCC_OscInitStruct.HSIState = RCC_HSI_ON;
  RCC_OscInitStruct.HSIDiv = RCC_HSI_DIV1;
  RCC_OscInitStruct.HSICalibrationValue = RCC_HSICALIBRATION_DEFAULT;
  RCC_OscInitStruct.PLL.PLLState = RCC_PLL_ON;
  RCC_OscInitStruct.PLL.PLLSource = RCC_PLLSOURCE_HSI;
  RCC_OscInitStruct.PLL.PLLM = RCC_PLLM_DIV1;
  RCC_OscInitStruct.PLL.PLLN = 8;
  RCC_OscInitStruct.PLL.PLLP = RCC_PLLP_DIV4;
  RCC_OscInitStruct.PLL.PLLR = RCC_PLLR_DIV2;
  if (HAL_RCC_OscConfig(&RCC_OscInitStruct) != HAL_OK)
  {
    Error_Handler();
  }

  /** Initializes the CPU, AHB and APB buses clocks
  */
  RCC_ClkInitStruct.ClockType = RCC_CLOCKTYPE_HCLK|RCC_CLOCKTYPE_SYSCLK
                              |RCC_CLOCKTYPE_PCLK1;
  RCC_ClkInitStruct.SYSCLKSource = RCC_SYSCLKSOURCE_PLLCLK;
  RCC_ClkInitStruct.AHBCLKDivider = RCC_SYSCLK_DIV1;
  RCC_ClkInitStruct.APB1CLKDivider = RCC_HCLK_DIV4;

  if (HAL_RCC_ClockConfig(&RCC_ClkInitStruct, FLASH_LATENCY_2) != HAL_OK)
  {
    Error_Handler();
  }
}

static void MX_ADC1_Init(void)
{

  ADC_ChannelConfTypeDef sConfig = {0};

  /** Configure the global features of the ADC (Clock, Resolution, Data Alignment and number of conversion)
  */
  hadc1.Instance = ADC1;
  hadc1.Init.ClockPrescaler = ADC_CLOCK_ASYNC_DIV1;
  hadc1.Init.Resolution = ADC_RESOLUTION_12B;
  hadc1.Init.DataAlign = ADC_DATAALIGN_RIGHT;
  hadc1.Init.ScanConvMode = ADC_SCAN_ENABLE;
  hadc1.Init.EOCSelection = ADC_EOC_SINGLE_CONV;
  hadc1.Init.LowPowerAutoWait = DISABLE;
  hadc1.Init.LowPowerAutoPowerOff = DISABLE;
  hadc1.Init.ContinuousConvMode = DISABLE;
  hadc1.Init.NbrOfConversion = 3;
  hadc1.Init.DiscontinuousConvMode = ENABLE;
  hadc1.Init.ExternalTrigConv = ADC_SOFTWARE_START;
  hadc1.Init.ExternalTrigConvEdge = ADC_EXTERNALTRIGCONVEDGE_NONE;
  hadc1.Init.DMAContinuousRequests = ENABLE;
  hadc1.Init.Overrun = ADC_OVR_DATA_OVERWRITTEN;
  hadc1.Init.SamplingTimeCommon1 = ADC_SAMPLETIME_160CYCLES_5;
  hadc1.Init.SamplingTimeCommon2 = ADC_SAMPLETIME_160CYCLES_5;
  hadc1.Init.OversamplingMode = DISABLE;
  hadc1.Init.TriggerFrequencyMode = ADC_TRIGGER_FREQ_HIGH;
  if (HAL_ADC_Init(&hadc1) != HAL_OK)
  {
    Error_Handler();
  }

  /** Configure Regular Channel
  */
  sConfig.Channel = ADC_CHANNEL_1;
  sConfig.Rank = ADC_REGULAR_RANK_1;
  sConfig.SamplingTime = ADC_SAMPLINGTIME_COMMON_1;
  if (HAL_ADC_ConfigChannel(&hadc1, &sConfig) != HAL_OK)
  {
    Error_Handler();
  }

  /** Configure Regular Channel
  */
  sConfig.Channel = ADC_CHANNEL_2;
  sConfig.Rank = ADC_REGULAR_RANK_2;
  if (HAL_ADC_ConfigChannel(&hadc1, &sConfig) != HAL_OK)
  {
    Error_Handler();
  }

  /** Configure Regular Channel
  */
  sConfig.Channel = ADC_CHANNEL_VREFINT;
  sConfig.Rank = ADC_REGULAR_RANK_3;
  if (HAL_ADC_ConfigChannel(&hadc1, &sConfig) != HAL_OK)
  {
    Error_Handler();
  }

}

static void MX_TIM3_Init(void)
{

  TIM_ClockConfigTypeDef sClockSourceConfig = {0};
  TIM_MasterConfigTypeDef sMasterConfig = {0};
  TIM_OC_InitTypeDef sConfigOC = {0};

  htim3.Instance = TIM3;
  htim3.Init.Prescaler = 1;
  htim3.Init.CounterMode = TIM_COUNTERMODE_UP;
  htim3.Init.Period = 32768;
  htim3.Init.ClockDivision = TIM_CLOCKDIVISION_DIV1;
  htim3.Init.AutoReloadPreload = TIM_AUTORELOAD_PRELOAD_DISABLE;
  if (HAL_TIM_Base_Init(&htim3) != HAL_OK)
  {
    Error_Handler();
  }
  sClockSourceConfig.ClockSource = TIM_CLOCKSOURCE_INTERNAL;
  if (HAL_TIM_ConfigClockSource(&htim3, &sClockSourceConfig) != HAL_OK)
  {
    Error_Handler();
  }
  if (HAL_TIM_OC_Init(&htim3) != HAL_OK)
  {
    Error_Handler();
  }
  sMasterConfig.MasterOutputTrigger = TIM_TRGO_RESET;
  sMasterConfig.MasterSlaveMode = TIM_MASTERSLAVEMODE_DISABLE;
  if (HAL_TIMEx_MasterConfigSynchronization(&htim3, &sMasterConfig) != HAL_OK)
  {
    Error_Handler();
  }
  sConfigOC.OCMode = TIM_OCMODE_TIMING;
  sConfigOC.Pulse = 0;
  sConfigOC.OCPolarity = TIM_OCPOLARITY_HIGH;
  sConfigOC.OCFastMode = TIM_OCFAST_DISABLE;
  if (HAL_TIM_OC_ConfigChannel(&htim3, &sConfigOC, TIM_CHANNEL_1) != HAL_OK)
  {
    Error_Handler();
  }

}

static void MX_DMA_Init(void)
{

  /* DMA controller clock enable */
  __HAL_RCC_DMA1_CLK_ENABLE();

  /* DMA interrupt init */
  /* DMA1_Channel1_IRQn interrupt configuration */
  HAL_NVIC_SetPriority(DMA1_Channel1_IRQn, 0, 0);
  HAL_NVIC_EnableIRQ(DMA1_Channel1_IRQn);

}

static void MX_GPIO_Init(void)
{
  GPIO_InitTypeDef GPIO_InitStruct = {0};

  /* GPIO Ports Clock Enable */
  __HAL_RCC_GPIOA_CLK_ENABLE();
  __HAL_RCC_GPIOB_CLK_ENABLE();
  __HAL_RCC_GPIOC_CLK_ENABLE();

  /*Configure GPIO pin Output Level */
  HAL_GPIO_WritePin(GPIOA, C_D3_Pin|C_D2_Pin|C_D4_Pin|F_Pin
                          |A_Pin|C_D1_Pin|E_Pin, GPIO_PIN_RESET);

  /*Configure GPIO pin Output Level */
  HAL_GPIO_WritePin(GPIOB, V_D3_Pin|B_Pin|V_D2_Pin|D_Pin
                          |DP_Pin|C_Pin|G_Pin|V_D4_Pin, GPIO_PIN_RESET);

  /*Configure GPIO pin Output Level */
  HAL_GPIO_WritePin(V_D1_GPIO_Port, V_D1_Pin, GPIO_PIN_RESET);

  /*Configure GPIO pins : C_D3_Pin A_Pin C_D1_Pin */
  GPIO_InitStruct.Pin = C_D3_Pin|A_Pin|C_D1_Pin;
  GPIO_InitStruct.Mode = GPIO_MODE_OUTPUT_PP;
  GPIO_InitStruct.Pull = GPIO_NOPULL;
  GPIO_InitStruct.Speed = GPIO_SPEED_FREQ_LOW;
  HAL_GPIO_Init(GPIOA, &GPIO_InitStruct);

  /*Configure GPIO pins : C_D2_Pin C_D4_Pin F_Pin E_Pin */
  GPIO_InitStruct.Pin = C_D2_Pin|C_D4_Pin|F_Pin|E_Pin;
  GPIO_InitStruct.Mode = GPIO_MODE_OUTPUT_PP;
  GPIO_InitStruct.Pull = GPIO_NOPULL;
  GPIO_InitStruct.Speed = GPIO_SPEED_FREQ_VERY_HIGH;
  HAL_GPIO_Init(GPIOA, &GPIO_InitStruct);

  /*Configure GPIO pins : V_D3_Pin B_Pin V_D2_Pin D_Pin
                           DP_Pin C_Pin G_Pin V_D4_Pin */
  GPIO_InitStruct.Pin = V_D3_Pin|B_Pin|V_D2_Pin|D_Pin
                          |DP_Pin|C_Pin|G_Pin|V_D4_Pin;
  GPIO_InitStruct.Mode = GPIO_MODE_OUTPUT_PP;
  GPIO_InitStruct.Pull = GPIO_NOPULL;
  GPIO_InitStruct.Speed = GPIO_SPEED_FREQ_VERY_HIGH;
  HAL_GPIO_Init(GPIOB, &GPIO_InitStruct);

  /*Configure GPIO pin : V_D1_Pin */
  GPIO_InitStruct.Pin = V_D1_Pin;
  GPIO_InitStruct.Mode = GPIO_MODE_OUTPUT_PP;
  GPIO_InitStruct.Pull = GPIO_NOPULL;
  GPIO_InitStruct.Speed = GPIO_SPEED_FREQ_VERY_HIGH;
  HAL_GPIO_Init(V_D1_GPIO_Port, &GPIO_InitStruct);

  /*Configure GPIO pins : Switch2_Pin Switch1_Pin */
  GPIO_InitStruct.Pin = Switch2_Pin|Switch1_Pin;
  GPIO_InitStruct.Mode = GPIO_MODE_INPUT;
  GPIO_InitStruct.Pull = GPIO_NOPULL;
  HAL_GPIO_Init(GPIOA, &GPIO_InitStruct);

}

void Error_Handler(void)
{
  __disable_irq();
  while (1)
  {
  }
}
